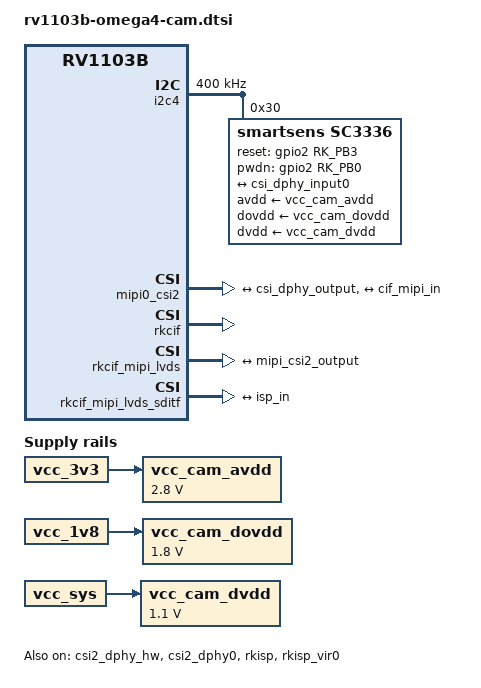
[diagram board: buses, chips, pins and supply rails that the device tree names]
// SPDX-License-Identifier: (GPL-2.0+ OR MIT)
/*
 * Omega4 camera CSI bring-up (RV1103B + SC3336).
 */

/ {
	vcc_cam_avdd: vcc-cam-avdd {
		compatible = "regulator-fixed";
		regulator-name = "vcc_cam_avdd";
		regulator-min-microvolt = <2800000>;
		regulator-max-microvolt = <2800000>;
		regulator-always-on;
		regulator-boot-on;
		vin-supply = <&vcc_3v3>;
	};

	vcc_cam_dovdd: vcc-cam-dovdd {
		compatible = "regulator-fixed";
		regulator-name = "vcc_cam_dovdd";
		regulator-min-microvolt = <1800000>;
		regulator-max-microvolt = <1800000>;
		regulator-always-on;
		regulator-boot-on;
		vin-supply = <&vcc_1v8>;
	};

	vcc_cam_dvdd: vcc-cam-dvdd {
		compatible = "regulator-fixed";
		regulator-name = "vcc_cam_dvdd";
		regulator-min-microvolt = <1100000>;
		regulator-max-microvolt = <1100000>;
		regulator-always-on;
		regulator-boot-on;
		vin-supply = <&vcc_sys>;
	};
};

&csi2_dphy_hw {
	status = "okay";
};

&csi2_dphy0 {
	status = "okay";

	ports {
		#address-cells = <1>;
		#size-cells = <0>;

		port@0 {
			reg = <0>;
			#address-cells = <1>;
			#size-cells = <0>;

			csi_dphy_input0: endpoint@0 {
				reg = <0>;
				remote-endpoint = <&sc3336_out>;
				data-lanes = <1 2>;
			};
		};

		port@1 {
			reg = <1>;
			#address-cells = <1>;
			#size-cells = <0>;

			csi_dphy_output: endpoint@0 {
				reg = <0>;
				remote-endpoint = <&mipi_csi2_input>;
			};
		};
	};
};

&i2c4 {
	status = "okay";
	clock-frequency = <400000>;
	pinctrl-names = "default";
	pinctrl-0 = <&i2c4m1_xfer_pins>;

	sc3336: sc3336@30 {
		compatible = "smartsens,sc3336";
		status = "okay";
		reg = <0x30>;
		clocks = <&cru CLK_MIPI0_OUT2IO>;
		clock-names = "xvclk";
		avdd-supply = <&vcc_cam_avdd>;
		dovdd-supply = <&vcc_cam_dovdd>;
		dvdd-supply = <&vcc_cam_dvdd>;
		reset-gpios = <&gpio2 RK_PB3 GPIO_ACTIVE_HIGH>;
		pwdn-gpios = <&gpio2 RK_PB0 GPIO_ACTIVE_HIGH>;
		pinctrl-names = "default";
		pinctrl-0 = <&cam_clk0_pins>;
		rockchip,camera-module-index = <0>;
		rockchip,camera-module-facing = "back";
		rockchip,camera-module-name = "SC3336";
		rockchip,camera-module-lens-name = "default";
		port {
			sc3336_out: endpoint {
				remote-endpoint = <&csi_dphy_input0>;
				data-lanes = <1 2>;
			};
		};
	};
};

&mipi0_csi2 {
	status = "okay";

	ports {
		#address-cells = <1>;
		#size-cells = <0>;

		port@0 {
			reg = <0>;
			#address-cells = <1>;
			#size-cells = <0>;

			mipi_csi2_input: endpoint@1 {
				reg = <1>;
				remote-endpoint = <&csi_dphy_output>;
			};
		};

		port@1 {
			reg = <1>;
			#address-cells = <1>;
			#size-cells = <0>;

			mipi_csi2_output: endpoint@0 {
				reg = <0>;
				remote-endpoint = <&cif_mipi_in>;
			};
		};
	};
};

&rkcif {
	status = "okay";
};

&rkcif_mipi_lvds {
	status = "okay";

	port {
		cif_mipi_in: endpoint {
			remote-endpoint = <&mipi_csi2_output>;
		};
	};
};

&rkcif_mipi_lvds_sditf {
	status = "okay";

	port {
		mipi_lvds_sditf: endpoint {
			remote-endpoint = <&isp_in>;
		};
	};
};

&rkisp {
	status = "okay";
};

&rkisp_vir0 {
	status = "okay";

	port@0 {
		isp_in: endpoint {
			remote-endpoint = <&mipi_lvds_sditf>;
		};
	};
};
